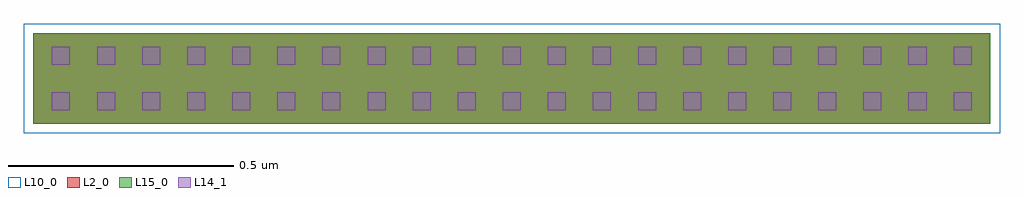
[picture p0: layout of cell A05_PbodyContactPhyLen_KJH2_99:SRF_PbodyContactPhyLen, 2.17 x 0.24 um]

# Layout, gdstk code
import gdstk
lib = gdstk.Library(unit=1e-6, precision=1e-09)
def R(c, l, rs):  # rectangles x0, y0, x1, y1
    for r in rs: c.add(gdstk.rectangle(r[:2], r[2:], *l))
def A(c, l, x, y, w, h, nx, ny, dx, dy):  # array of equal rectangles
    R(c, l, [(x+i*dx, y+j*dy, x+i*dx+w, y+j*dy+h) for i in range(nx) for j in range(ny)])
L2_0 = (2, 0)
L10_0 = (10, 0)
L14_1 = (14, 1)
L15_0 = (15, 0)

a05_pbodycontactphylen_k = lib.new_cell('A05_PbodyContactPhyLen_KJH2_99:SRF_PbodyContactPhyLen')
R(a05_pbodycontactphylen_k, L2_0, [(-0.042,-0.13,2.081,0.07)])
R(a05_pbodycontactphylen_k, L10_0, [(-0.062,-0.151,2.103,0.091)])
A(a05_pbodycontactphylen_k, L14_1, 0, -0.1, 0.04, 0.04, 21, 2, 0.1, 0.1)
R(a05_pbodycontactphylen_k, L15_0, [(-0.042,-0.13,2.081,0.07)])

lib.write_gds('A05_PbodyContactPhyLen_KJH2_99_SRF_PbodyContactPhyLen.gds')
